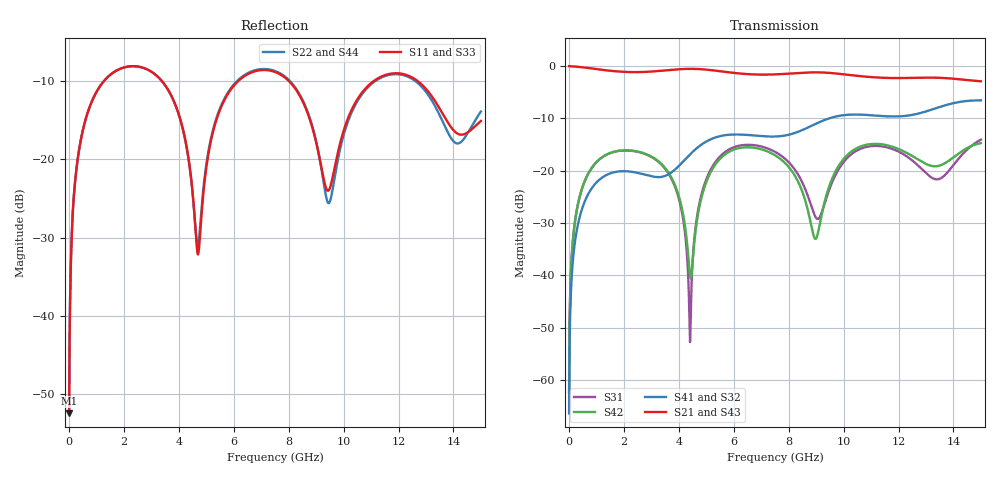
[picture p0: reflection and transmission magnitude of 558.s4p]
! Created with skrf 1.8.0 (http://scikit-rf.org).
# GHz S RI R 50.0
!freq ReS11 ImS11 ReS12 ImS12 ReS13 ImS13
! ReS14 ImS14
! ReS21 ImS21 ReS22 ImS22 ReS23 ImS23
! ReS24 ImS24
! ReS31 ImS31 ReS32 ImS32 ReS33 ImS33
! ReS34 ImS34
! ReS41 ImS41 ReS42 ImS42 ReS43 ImS43
! ReS44 ImS44
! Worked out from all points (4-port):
!   2499 points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, 5 MHz to 15 GHz, reference 50 ohm
!   strongest paths, dB at 5 MHz, 3.476 GHz, 7.19 GHz, 11.1 GHz, 15 GHz:
!     S21: 0.0, -0.8, -1.6, -2.1, -2.9
!     S43: 0.0, -0.8, -1.6, -2.1, -2.9
!     S41: -66.3, -21.0, -13.4, -9.4, -6.6
!     S32: -66.3, -21.1, -13.5, -9.4, -6.6
!     S42: -62.4, -19.3, -16.2, -14.9, -14.7
!     S31: -62.4, -19.5, -15.7, -15.3, -14.1
!   lowest |S11| = -52.4 dB at 5 MHz (marker M1), VSWR 1.00, Z = 50.2 + j0.146 ohm
!   |S11| at or under -10 dB: 3.381 GHz to 6.168 GHz (2.786 GHz wide, 58.4 % of centre); 8.004 GHz to 11.1 GHz (3.099 GHz wide, 32.4 % of centre); 12.69 GHz to end of sweep (the widest 3 of 4)
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0.005  0.00191 0.00145  0.9981 -0.00371  9.65e-05 0.000751  -9.37e-05 -0.000472
       0.9981 -0.00371  0.00191 0.00145  -9.37e-05 -0.000472  9.65e-05 0.000751
       9.65e-05 0.000751  -9.37e-05 -0.000472  0.00191 0.00145  0.9981 -0.00371
       -9.37e-05 -0.000472  9.65e-05 0.000751  0.9981 -0.00371  0.00191 0.00145
0.3126303  0.0311 0.094  0.9574 -0.2294  0.0144 0.0437  -0.012 -0.0269
           0.9574 -0.2294  0.0311 0.094  -0.012 -0.0269  0.0145 0.0437
           0.0144 0.0437  -0.012 -0.0269  0.0311 0.094  0.9574 -0.2294
           -0.012 -0.0269  0.0145 0.0437  0.9574 -0.2294  0.0311 0.094
1.369321  0.2795 0.1747  0.5302 -0.7397  0.1297 0.059  -0.0912 -0.00303
          0.5302 -0.7397  0.2792 0.1749  -0.0911 -0.00313  0.1306 0.0578
          0.1297 0.059  -0.0911 -0.00313  0.2795 0.1746  0.5302 -0.7397
          -0.0912 -0.00303  0.1306 0.0578  0.5302 -0.7397  0.2792 0.1749
4.408087  0.0392 -0.0772  -0.9054 -0.256  0.00231 -4.43e-05  -0.0339 0.1394
          -0.9054 -0.256  0.0414 -0.0747  -0.0352 0.139  -0.00929 -0.00355
          0.00231 -4.43e-05  -0.0352 0.139  0.0395 -0.077  -0.9054 -0.2559
          -0.0339 0.1394  -0.00929 -0.00355  -0.9054 -0.2559  0.041 -0.0746
5.61484  0.1599 0.1658  -0.7491 0.4719  0.1271 0.072  0.1467 0.1601
         -0.7491 0.4719  0.1664 0.1663  0.1449 0.161  0.1137 0.0796
         0.1271 0.072  0.1449 0.161  0.1614 0.1655  -0.7489 0.472
         0.1467 0.1601  0.1137 0.0796  -0.7489 0.472  0.1654 0.1671
9.497707  0.0641 0.0129  0.8559 0.0869  0.000541 0.0682  0.0196 -0.3172
          0.8559 0.0869  0.0531 0.00704  0.0264 -0.3171  0.0142 0.0723
          0.000541 0.0682  0.0264 -0.3171  0.0586 0.0103  0.8559 0.0879
          0.0196 -0.3172  0.0142 0.0723  0.8559 0.0879  0.0588 0.00443
15  0.1733 0.0286  -0.6832 0.2145  0.1601 0.1171  0.1896 0.4302
    -0.6832 0.2145  0.1844 0.0818  0.1774 0.4341  0.0937 0.1581
    0.1601 0.1171  0.1774 0.4341  0.1798 0.0349  -0.6821 0.2156
    0.1896 0.4302  0.0937 0.1581  -0.6821 0.2156  0.1825 0.0843
